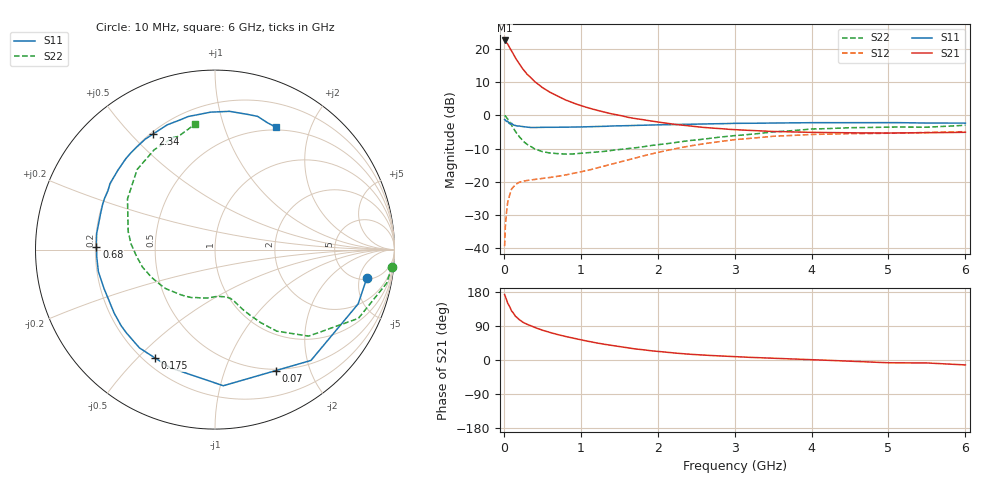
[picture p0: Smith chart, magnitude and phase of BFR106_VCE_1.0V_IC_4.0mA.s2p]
! Infineon Technologies  Discrete & RF Semiconductors
! BFR106
! VCE =  1.0 V,  IC =  4.0 mA
! Common Emitter S-Parameters:  Nov 2015
# GHz  S  MA  R  50
!  f  S11  S21  S12  S22
! GHz  MAG  ANG  MAG  ANG  MAG  ANG  MAG  ANG
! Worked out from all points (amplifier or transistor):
!   210 points, 10 MHz to 6 GHz, reference 50 ohm
!   highest |S21| = 22.5 dB at 10 MHz (marker M1)
!   |S21| within 3 dB of that: start of sweep to 98.39 MHz
!   unconditionally stable (mu >= 1): 636.9 MHz to end of sweep
!   at 185 MHz: K = 0.35, MSG = 18.2 dB, |S12| = -20.3 dB
!   at 1.52 GHz: K = 1.19, MAG = 4.3 dB, |S12| = -13.9 dB
!   at 6 GHz: K = 1.03, MAG = -1.1 dB, |S12| = -4.9 dB
!   S11 on the Smith chart (normalised r, x): 10 MHz: 5.31, -6.49; 70 MHz: 0.48, -1.51; 175 MHz: 0.24, -0.56; 680 MHz: 0.20, +0.01; 2.34 GHz: 0.21, +0.58; 6 GHz: 0.47, +1.51
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0.01  0.8607 -10.6  13.3 172.9  0.0108 85.7  0.9901 -5.5
0.02  0.8529 -20.8  13.11 167.4  0.0214 79.6  0.9743 -11.1
0.05  0.8169 -49.1  11.74 150.0  0.0492 64.3  0.8861 -25.6
0.07  0.7545 -63.3  10.64 143.0  0.0601 56.0  0.8077 -31.5
0.1  0.7599 -86.5  9.362 129.7  0.0779 48.1  0.7107 -42.7
0.15  0.7039 -110.8  7.279 115.5  0.0911 38.5  0.5696 -52.9
0.175  0.69 -119.1  6.575 111.5  0.0947 36.0  0.5231 -55.3
0.2  0.6908 -127.5  5.911 106.5  0.0984 33.6  0.4777 -58.1
0.24  0.6774 -136.9  5.089 100.8  0.1013 31.3  0.4221 -61.4
0.3  0.6639 -147.8  4.165 94.1  0.1047 29.8  0.3673 -65.1
0.4  0.6552 -160.6  3.214 85.7  0.1088 29.2  0.3127 -69.0
0.5  0.6614 -169.3  2.612 78.7  0.1124 30.5  0.2846 -72.5
0.68  0.6608 178.8  1.987 68.2  0.12 34.8  0.2664 -80.4
0.8  0.6653 172.4  1.703 62.1  0.1266 38.0  0.2612 -86.0
1.02  0.6684 162.4  1.376 52.4  0.1428 43.5  0.2698 -96.1
1.4  0.6912 147.8  1.051 38.8  0.1841 50.1  0.2972 -115.9
2.02  0.7184 127.7  0.787 22.4  0.2796 49.6  0.363 -147.8
2.34  0.7304 118.3  0.709 16.5  0.3331 45.6  0.4051 -163.5
3.1  0.7566 99.5  0.6 7.9  0.4396 32.1  0.5042 164.0
4.1  0.7737 82.7  0.552 0.1  0.5172 14.1  0.6255 131.6
5.1  0.7758 71.3  0.542 -7.4  0.5396 0.5  0.6656 110.1
6  0.7622 63.5  0.555 -13.0  0.5677 -8.8  0.7076 99.0
